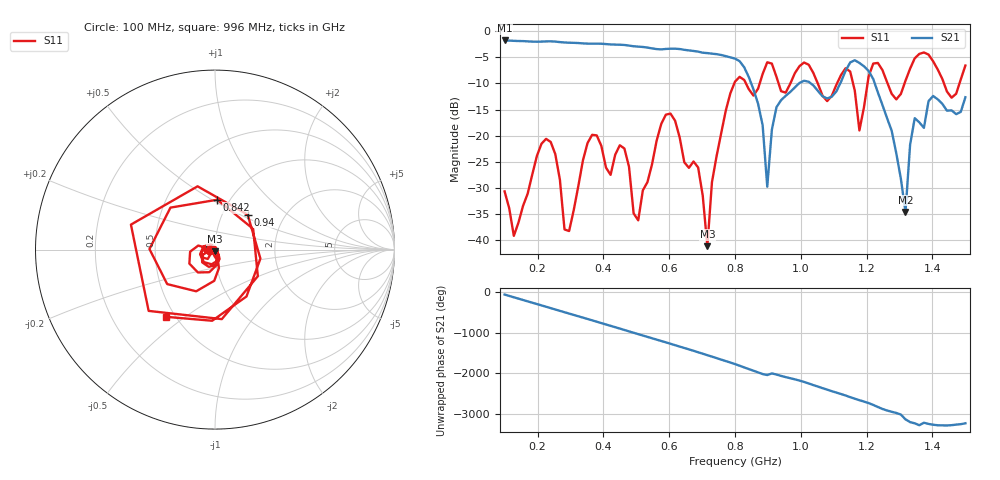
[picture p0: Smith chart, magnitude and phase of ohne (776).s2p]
! NanoVNA-App
! Date: 2025-09-25 14:26:50
! Start: 100MHz Stop: 1,5GHz Points: 101
! S-Parameter data: F S11 S21 S12 S22
# Hz S RI R 50
!  Frequency  S11_Real  S11_Imag  S21_Real  S21_Imag  S12_Real  S12_Imag  S22_Real  S22_Imag
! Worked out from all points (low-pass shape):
!   101 points, 100 MHz to 1.5 GHz, reference 50 ohm
!   highest |S21| = -1.79 dB at 100 MHz (marker M1); lowest = -34.6 dB at 1.318 GHz (marker M2)
!   |S21| within 3 dB of the highest: start of sweep to 772.2 MHz
!   lowest |S11| = -41.1 dB at 716 MHz (marker M3), VSWR 1.02, Z = 49.8 - j0.843 ohm
!   |S11| at or under -10 dB: start of sweep to 797.9 MHz; 833.2 MHz to 875.1 MHz (41.88 MHz wide, 4.9 % of centre); 1.051 GHz to 1.11 GHz (58.54 MHz wide, 5.42 % of centre) (the widest 3 of 7)
!   S12 and S22 are empty: the file has one direction only
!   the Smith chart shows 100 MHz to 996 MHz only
!   S11 on the Smith chart (normalised r, x): 100 MHz: 0.94, -0.01; 842 MHz: 0.88, +0.53; 940 MHz: 1.31, +0.55; 996 MHz: 0.45, -0.43
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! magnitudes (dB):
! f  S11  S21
! 100 MHz  -30.6  -1.8
! 128 MHz  -39.1  -1.9
! 226 MHz  -20.6  -2.0
! 296 MHz  -38.2  -2.2
! 338 MHz  -24.7  -2.4
! 464 MHz  -22.4  -2.7
! 506 MHz  -36.2  -3.0
! 576 MHz  -17.7  -3.5
! 688 MHz  -26.1  -3.9
! 716 MHz  -41.1  -4.2
! 800 MHz  -9.7  -5.3
! 842 MHz  -11.1  -8.8
! 898 MHz  -6.0  -29.7
! 940 MHz  -11.5  -13.2
! 996 MHz  -6.7  -9.9
! 1.038 GHz  -8.0  -10.4
! 1.164 GHz  -11.4  -5.6
! 1.178 GHz  -19.0  -6.1
! 1.276 GHz  -12.0  -19.0
! 1.318 GHz  -9.5  -34.6
! 1.346 GHz  -5.2  -16.6
! 1.5 GHz  -6.6  -12.6
